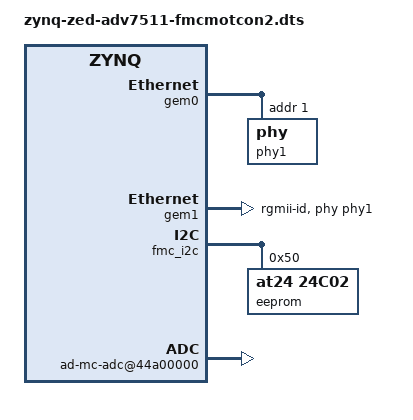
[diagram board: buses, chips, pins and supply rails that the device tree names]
// SPDX-License-Identifier: GPL-2.0
/* Copyright (C) 2024 Analog Devices Inc. */

/dts-v1/;

#include "zynq-zed.dtsi"
#include "zynq-zed-adv7511.dtsi"

&aliases {
	ethernet1 = &gem1;
};

&gem0 {
	phy1: phy@1 {
		device_type = "ethernet-phy";
		reg = <0x1>;
		marvell,reg-init = <3 16 0xff00 0x1e 3 17 0xfff0 0x0a>;
	};
};

&gem1 {
	status = "okay";

	phy-handle = <&phy1>;
	phy-mode = "rgmii-id";
};

&fpga_axi {
	fmc_i2c: i2c@41620000 {
		compatible = "xlnx,axi-iic-1.01.b", "xlnx,xps-iic-2.00.a";
		reg = <0x41620000 0x10000>;
		interrupt-parent = <&intc>;
		interrupts = <0 55 IRQ_TYPE_LEVEL_HIGH>;
		clocks = <&clkc 15>;
		clock-names = "pclk";

		#size-cells = <0>;
		#address-cells = <1>;

		eeprom@50 {
			compatible = "at24,24c02";
			reg = <0x50>;
		};
	};

	ad-mc-adc@44a00000 {
		compatible = "xlnx,axi-ad-mc-adc-1.00.a";
		reg = <0x44a00000 0x10000>;
		dmas = <&ad_mc_adc_dma 0>;
		dma-names = "ad-mc-adc-dma";
		clocks = <&axi_clk_gen 0>;
	};

	ad_mc_adc_dma: dma@44a30000 {
		compatible = "adi,axi-dmac-1.00.a";
		reg = <0x44a30000 0x1000>;
		#dma-cells = <1>;
		interrupts = <0 57 IRQ_TYPE_LEVEL_HIGH>;
		clocks = <&clkc 15>;
	};

	axi_clk_gen: axi-clkgen@44a40000 {
		compatible = "adi,axi-clkgen-2.00.a";
		reg = <0x44a40000 0x10000>;
		#clock-cells = <0>;
		clocks = <&clkc 15>, <&clkc 15>;
		clock-names = "s_axi_aclk", "clkin1";
		clock-output-names = "axi_clk_gen";

		assigned-clocks = <&axi_clk_gen>;
		assigned-clock-rates = <50000000>;
	};
};
